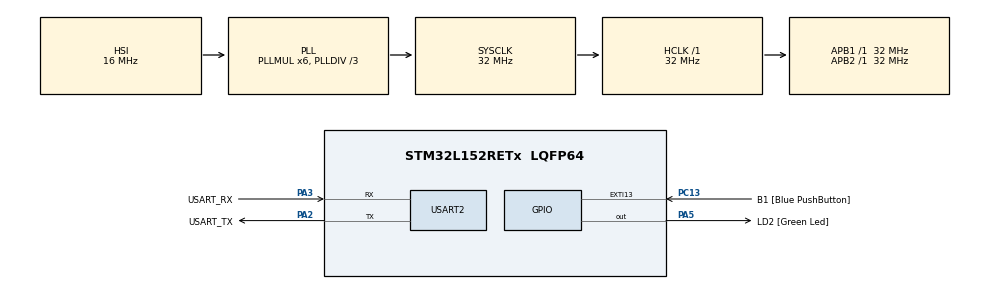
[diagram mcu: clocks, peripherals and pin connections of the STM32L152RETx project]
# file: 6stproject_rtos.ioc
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FREERTOS.Tasks01=defaultTask,0,128,StartDefaultTask,Default,NULL,Dynamic,NULL,NULL
Mcu.Family=STM32L1
Mcu.Name=STM32L152RETx
Mcu.Package=LQFP64
NVIC.PriorityGroup=NVIC_PRIORITYGROUP_4
NVIC.TIM6_IRQn=true\:15\:0\:false\:false\:true\:false\:false\:true\:true
NVIC.TimeBase=TIM6_IRQn
NVIC.TimeBaseIP=TIM6
PA13.GPIO_Label=TMS
PA13.Mode=Serial_Wire
PA13.Signal=SYS_JTMS-SWDIO
PA14.GPIO_Label=TCK
PA14.Mode=Serial_Wire
PA14.Signal=SYS_JTCK-SWCLK
PA2.GPIO_Label=USART_TX
PA2.Mode=Asynchronous
PA2.Signal=USART2_TX
PA3.GPIO_Label=USART_RX
PA3.Mode=Asynchronous
PA3.Signal=USART2_RX
PA5.GPIO_Label=LD2 [Green Led]
PA5.Signal=GPIO_Output
PB3.GPIO_Label=SWO
PB3.Signal=SYS_JTDO-TRACESWO
PC13-WKUP2.GPIO_Label=B1 [Blue PushButton]
PC13-WKUP2.Signal=GPXTI13
PC14-OSC32_IN.Mode=LSE-External-Oscillator
PC14-OSC32_IN.Signal=RCC_OSC32_IN
PC15-OSC32_OUT.Mode=LSE-External-Oscillator
PC15-OSC32_OUT.Signal=RCC_OSC32_OUT
PH0-OSC_IN.Mode=HSE-External-Clock-Source
PH0-OSC_IN.Signal=RCC_OSC_IN
PH1-OSC_OUT.Signal=RCC_OSC_OUT
ProjectManager.HeapSize=0x200
ProjectManager.StackSize=0x400
ProjectManager.TargetToolchain=STM32CubeIDE
RCC.48MHZClocksFreq_Value=48000000
RCC.AHBFreq_Value=32000000
RCC.APB1Freq_Value=32000000
RCC.APB1TimFreq_Value=32000000
RCC.APB2Freq_Value=32000000
RCC.APB2TimFreq_Value=32000000
RCC.HCLKFreq_Value=32000000
RCC.HSE_VALUE=8000000
RCC.HSI_VALUE=16000000
RCC.MSI_VALUE=2097000
RCC.PLLDIV=RCC_PLL_DIV3
RCC.PLLMUL=RCC_PLL_MUL6
RCC.RTCClockSelectionVirtual=RCC_RTCCLKSOURCE_LSE
RCC.SYSCLKFreq_VALUE=32000000
RCC.SYSCLKSource=RCC_SYSCLKSOURCE_PLLCLK
RCC.USBOutput=48000000
RCC.VCOOutputFreq_Value=96000000
USART2.VirtualMode=VM_ASYNC
VP_FREERTOS_VS_CMSIS_V1.Mode=CMSIS_V1
VP_SYS_VS_tim6.Mode=TIM6
board=NUCLEO-L152RE

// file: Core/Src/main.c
/* USER CODE BEGIN Header */
/**
  ******************************************************************************
  * @file           : main.c
  * @brief          : Main program body
  ******************************************************************************
  * @attention
  *
  * <h2><center>&copy; Copyright (c) 2022 STMicroelectronics.
  * All rights reserved.</center></h2>
  *
  * This software component is licensed by ST under BSD 3-Clause license,
  * the "License"; You may not use this file except in compliance with the
  * License. You may obtain a copy of the License at:
  *                        opensource.org/licenses/BSD-3-Clause
  *
  ******************************************************************************
  */
/* USER CODE END Header */
#include "main.h"
#include "cmsis_os.h"

/* USER CODE BEGIN Includes */
#include "freertos.h"
#include "task.h"
#include "stdio.h"
#include "semphr.h"

/* USER CODE END Includes */

/* USER CODE BEGIN PD */
// Définition du nombre d'éléments pour les files
#define x 10 // nombre d'éléments pour la File_tapis_arrivee
#define y 10 // nombre d'éléments pour la File_depart_national et File_depart_international
#define z 10 // nombre d'éléments pour la File_tapis_relecture

// Définition du delai pour la tâche de relecture
#define DELAI_RELECTURE   500

// Définition des timeout pour les files en ms
#define TIMEOUT_FILE_TAPIS_ARRIVEE   	100
#define TIMEOUT_FILE_TAPIS_RELECTURE 	100
#define TIMEOUT_FILE_TAPIS_DEPART		100  // Timeout identique en national ou international

/* USER CODE END PD */

UART_HandleTypeDef huart2;

/* USER CODE BEGIN PV */

QueueHandle_t File_tapis_arrivee;

QueueHandle_t File_depart_national;
QueueHandle_t File_depart_international;
QueueHandle_t File_tapis_relecture;

SemaphoreHandle_t Sem_affichage;

/* USER CODE END PV */

void SystemClock_Config(void);
static void MX_GPIO_Init(void);
static void MX_USART2_UART_Init(void);
void StartDefaultTask(void const * argument);

/* USER CODE BEGIN 0 */
//********************************************************
//* Tâche arrivée
//*
//* Répète de façon cyclique une liste de colis à deposer
//*
//* B2=1 -> le colis est passé par « tache-relecture », sinon B2=0
//* B1=1 -> étiquette non lisible sinon B1=0
//* B0=1 -> marché international / B0=0 -> marché international
//*
//********************************************************
void tache_arrivee( void *pvParameters )
{
	uint32_t liste_colis[] = { 1,  3,  1,  2,  3,  0}; // Etat des bits B2, B1 et B0 -> 0 à 3 en décimal car B2=0
	uint32_t liste_delai[] = { 5,100,200, 30,400, 50}; // Temps d'attente en ms pour le colis suivant
	uint32_t num_colis = 0; // Initilisation du numéro de colis
	uint32_t colis; // Colis (étiquette)

	while(1)
	{
		colis = (num_colis<<3) + liste_colis[num_colis % (sizeof(liste_colis)/sizeof(unsigned int))];
		//xQueueSendToBack(File_tapis_arrivee, &colis, TIMEOUT_FILE_TAPIS_ARRIVEE); // Il faudra gérer le débordement et afficher un message d'erreur
		if (xQueueSendToBack(File_tapis_arrivee, &colis, TIMEOUT_FILE_TAPIS_ARRIVEE) != pdPASS)
		    affiche_message("ERREUR tache_arrivee : debordement File_tapis_arrivee", colis);

		vTaskDelay(liste_delai[num_colis % (sizeof(liste_colis)/sizeof(unsigned int))]/portTICK_RATE_MS); // Attente entre deux colis en ms
		//printf("Le colis No %d est depose sur le tapis roulant et il porte l'etiquette %d\n",num_colis, colis);	// Il faudra gérer l'affichage comme une ressource partagée
		affiche_message("Tache_arrivee", colis);
		num_colis++;
  }
	vTaskDelete( NULL );
}

void affiche_message(char *texte, unsigned int colis)
{
    uint32_t compteur = colis >> 3;
    uint32_t b2       = (colis >> 2) & 0x1;
    uint32_t b1       = (colis >> 1) & 0x1;
    uint32_t b0       = colis & 0x1;

    xSemaphoreTake(Sem_affichage, portMAX_DELAY);
    printf("%s : compteur=%lu B2=%lu B1=%lu B0=%lu\n", texte, compteur, b2, b1, b0);
    xSemaphoreGive(Sem_affichage);
}

void tache_lecture_rapide(void *pvParameters)
{
    uint32_t colis;
    while (1)
    {
        if (xQueueReceive(File_tapis_arrivee, &colis, portMAX_DELAY) == pdPASS)
        {
            uint32_t b1 = (colis >> 1) & 0x1;
            uint32_t b0 = colis & 0x1;

            if (b1 == 1)
            {
                if (xQueueSendToBack(File_tapis_relecture, &colis, TIMEOUT_FILE_TAPIS_RELECTURE) != pdPASS)
                    affiche_message("ERREUR lect_rapide : debordement File_tapis_relecture", colis);
                else
                    affiche_message("Tache_lecture_rapide -> relecture", colis);
            }
            else if (b0 == 1)
            {
                if (xQueueSendToBack(File_depart_international, &colis, TIMEOUT_FILE_TAPIS_DEPART) != pdPASS)
                    affiche_message("ERREUR lect_rapide : debordement File_depart_international", colis);
                else
                    affiche_message("Tache_lecture_rapide -> international", colis);
            }
            else
            {
                if (xQueueSendToBack(File_depart_national, &colis, TIMEOUT_FILE_TAPIS_DEPART) != pdPASS)
                    affiche_message("ERREUR lect_rapide : debordement File_depart_national", colis);
                else
                    affiche_message("Tache_lecture_rapide -> national", colis);
            }
        }
    }
    vTaskDelete(NULL);
}

void tache_depart_national(void *pvParameters)
{
    uint32_t colis;
    while (1)
    {
        if (xQueueReceive(File_depart_national, &colis, portMAX_DELAY) == pdPASS)
            affiche_message("Tache_depart_national", colis);
    }
    vTaskDelete(NULL);
}

void tache_depart_international(void *pvParameters)
{
    uint32_t colis;
    while (1)
    {
        if (xQueueReceive(File_depart_international, &colis, portMAX_DELAY) == pdPASS)
            affiche_message("Tache_depart_international", colis);
    }
    vTaskDelete(NULL);
}

void tache_relecture(void *pvParameters)
{
    uint32_t colis;
    while (1)
    {
        if (xQueueReceive(File_tapis_relecture, &colis, portMAX_DELAY) == pdPASS)
        {
            affiche_message("Tache_relecture (avant)", colis);
            vTaskDelay(DELAI_RELECTURE / portTICK_RATE_MS);
            colis &= ~(1 << 1); // B1 = 0
            colis |=  (1 << 2); // B2 = 1
            affiche_message("Tache_relecture (apres)", colis);

            if (xQueueSendToFront(File_tapis_arrivee, &colis, TIMEOUT_FILE_TAPIS_ARRIVEE) != pdPASS)
                affiche_message("ERREUR tache_relecture : debordement File_tapis_arrivee", colis);
        }
    }
    vTaskDelete(NULL);
}

/* USER CODE END 0 */

int main(void)
{

  /* MCU Configuration--------------------------------------------------------*/

  /* Reset of all peripherals, Initializes the Flash interface and the Systick. */
  HAL_Init();

  /* Configure the system clock */
  SystemClock_Config();

  /* Initialize all configured peripherals */
  MX_GPIO_Init();
  MX_USART2_UART_Init();

  /* USER CODE BEGIN RTOS_SEMAPHORES */
  /* add semaphores, ... */
  Sem_affichage = xSemaphoreCreateMutex();

  /* USER CODE END RTOS_SEMAPHORES */

  /* USER CODE BEGIN RTOS_QUEUES */
  /* add queues, ... */
  File_tapis_arrivee = xQueueCreate(x, sizeof(unsigned int));

  File_depart_national = xQueueCreate(y, sizeof(unsigned int));
  File_depart_international = xQueueCreate(y, sizeof(unsigned int));
  File_tapis_relecture = xQueueCreate(z, sizeof(unsigned int));
  /* USER CODE END RTOS_QUEUES */

  /* Create the thread(s) */
  /* definition and creation of defaultTask */

  /* USER CODE BEGIN RTOS_THREADS */
  /* add threads, ... */
	xTaskCreate(tache_arrivee,				// Pointeur vers la fonction
							"Tache arrivee",			// Nom de la tâche, facilite le debug
							configMINIMAL_STACK_SIZE, 	// Taille de pile (mots)
							NULL, 						// Pas de paramètres pour la tâche
							2, 							// Niveau de priorité 1 pour la tâche (0 étant la plus faible)
							NULL );

	xTaskCreate(tache_lecture_rapide, "Tache lect rapide", configMINIMAL_STACK_SIZE, NULL, 1, NULL);
	xTaskCreate(tache_depart_national, "Tache dep national", configMINIMAL_STACK_SIZE, NULL, 1, NULL);
	xTaskCreate(tache_depart_international,"Tache dep internat", configMINIMAL_STACK_SIZE, NULL, 1, NULL);
	xTaskCreate(tache_relecture, "Tache relecture", configMINIMAL_STACK_SIZE, NULL, 1, NULL);

  /* USER CODE END RTOS_THREADS */

  /* Start scheduler */
  vTaskStartScheduler();

  /* We should never get here as control is now taken by the scheduler */
  /* Infinite loop */
  while (1)
  {

  }
}

void SystemClock_Config(void)
{
  RCC_OscInitTypeDef RCC_OscInitStruct = {0};
  RCC_ClkInitTypeDef RCC_ClkInitStruct = {0};

  /** Configure the main internal regulator output voltage
  */
  __HAL_PWR_VOLTAGESCALING_CONFIG(PWR_REGULATOR_VOLTAGE_SCALE1);
  /** Initializes the RCC Oscillators according to the specified parameters
  * in the RCC_OscInitTypeDef structure.
  */
  RCC_OscInitStruct.OscillatorType = RCC_OSCILLATORTYPE_HSI;
  RCC_OscInitStruct.HSIState = RCC_HSI_ON;
  RCC_OscInitStruct.HSICalibrationValue = RCC_HSICALIBRATION_DEFAULT;
  RCC_OscInitStruct.PLL.PLLState = RCC_PLL_ON;
  RCC_OscInitStruct.PLL.PLLSource = RCC_PLLSOURCE_HSI;
  RCC_OscInitStruct.PLL.PLLMUL = RCC_PLL_MUL6;
  RCC_OscInitStruct.PLL.PLLDIV = RCC_PLL_DIV3;
  if (HAL_RCC_OscConfig(&RCC_OscInitStruct) != HAL_OK)
  {
    Error_Handler();
  }
  /** Initializes the CPU, AHB and APB buses clocks
  */
  RCC_ClkInitStruct.ClockType = RCC_CLOCKTYPE_HCLK|RCC_CLOCKTYPE_SYSCLK
                              |RCC_CLOCKTYPE_PCLK1|RCC_CLOCKTYPE_PCLK2;
  RCC_ClkInitStruct.SYSCLKSource = RCC_SYSCLKSOURCE_PLLCLK;
  RCC_ClkInitStruct.AHBCLKDivider = RCC_SYSCLK_DIV1;
  RCC_ClkInitStruct.APB1CLKDivider = RCC_HCLK_DIV1;
  RCC_ClkInitStruct.APB2CLKDivider = RCC_HCLK_DIV1;

  if (HAL_RCC_ClockConfig(&RCC_ClkInitStruct, FLASH_LATENCY_1) != HAL_OK)
  {
    Error_Handler();
  }
}

static void MX_USART2_UART_Init(void)
{

  huart2.Instance = USART2;
  huart2.Init.BaudRate = 115200;
  huart2.Init.WordLength = UART_WORDLENGTH_8B;
  huart2.Init.StopBits = UART_STOPBITS_1;
  huart2.Init.Parity = UART_PARITY_NONE;
  huart2.Init.Mode = UART_MODE_TX_RX;
  huart2.Init.HwFlowCtl = UART_HWCONTROL_NONE;
  huart2.Init.OverSampling = UART_OVERSAMPLING_16;
  if (HAL_UART_Init(&huart2) != HAL_OK)
  {
    Error_Handler();
  }

}

static void MX_GPIO_Init(void)
{
  GPIO_InitTypeDef GPIO_InitStruct = {0};

  /* GPIO Ports Clock Enable */
  __HAL_RCC_GPIOC_CLK_ENABLE();
  __HAL_RCC_GPIOH_CLK_ENABLE();
  __HAL_RCC_GPIOA_CLK_ENABLE();
  __HAL_RCC_GPIOB_CLK_ENABLE();

  /*Configure GPIO pin Output Level */
  HAL_GPIO_WritePin(LD2_GPIO_Port, LD2_Pin, GPIO_PIN_RESET);

  /*Configure GPIO pin : B1_Pin */
  GPIO_InitStruct.Pin = B1_Pin;
  GPIO_InitStruct.Mode = GPIO_MODE_IT_RISING;
  GPIO_InitStruct.Pull = GPIO_NOPULL;
  HAL_GPIO_Init(B1_GPIO_Port, &GPIO_InitStruct);

  /*Configure GPIO pin : LD2_Pin */
  GPIO_InitStruct.Pin = LD2_Pin;
  GPIO_InitStruct.Mode = GPIO_MODE_OUTPUT_PP;
  GPIO_InitStruct.Pull = GPIO_NOPULL;
  GPIO_InitStruct.Speed = GPIO_SPEED_FREQ_LOW;
  HAL_GPIO_Init(LD2_GPIO_Port, &GPIO_InitStruct);

}

/* USER CODE BEGIN 4 */
int _write(int file, char *ptr, int len) {
	(void)file;
	int DataIdx;

	for (DataIdx = 0; DataIdx < len; DataIdx++) {
		ITM_SendChar (*ptr++);
	}

	return len;
}

/* USER CODE END 4 */

void StartDefaultTask(void const * argument)
{
  for(;;)
  {
    osDelay(1);
  }
}

void HAL_TIM_PeriodElapsedCallback(TIM_HandleTypeDef *htim)
{
  if (htim->Instance == TIM6) {
    HAL_IncTick();
  }
}

void Error_Handler(void)
{
  __disable_irq();
  while (1)
  {
  }
}

/************************ (C) COPYRIGHT STMicroelectronics *****END OF FILE****/
